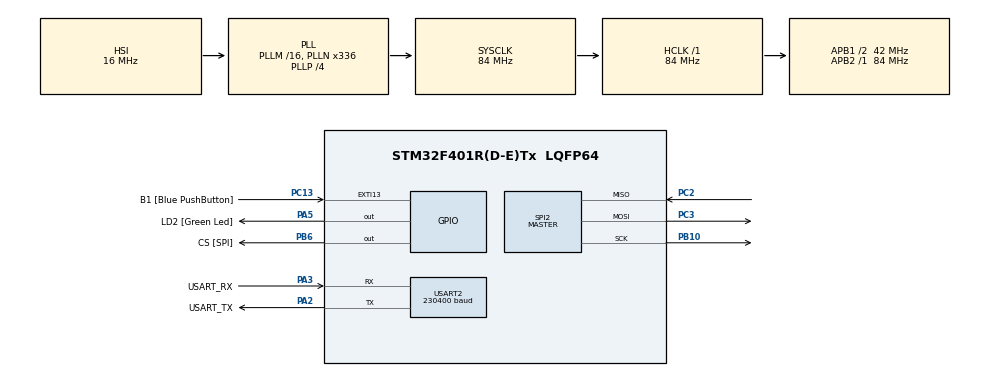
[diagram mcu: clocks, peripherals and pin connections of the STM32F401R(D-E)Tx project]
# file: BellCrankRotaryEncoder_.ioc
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FREERTOS.Tasks01=defaultTask,0,128,StartDefaultTask,Default,NULL,Dynamic,NULL,NULL
Mcu.Family=STM32F4
Mcu.Name=STM32F401R(D-E)Tx
Mcu.Package=LQFP64
NVIC.PriorityGroup=NVIC_PRIORITYGROUP_4
PA13.GPIO_Label=TMS
PA13.Mode=Serial_Wire
PA13.Signal=SYS_JTMS-SWDIO
PA14.GPIO_Label=TCK
PA14.Mode=Serial_Wire
PA14.Signal=SYS_JTCK-SWCLK
PA2.GPIO_Label=USART_TX
PA2.GPIO_Mode=GPIO_MODE_AF_PP
PA2.GPIO_PuPd=GPIO_NOPULL
PA2.GPIO_Speed=GPIO_SPEED_FREQ_LOW
PA2.Mode=Asynchronous
PA2.Signal=USART2_TX
PA3.GPIO_Label=USART_RX
PA3.GPIO_Mode=GPIO_MODE_AF_PP
PA3.GPIO_PuPd=GPIO_NOPULL
PA3.GPIO_Speed=GPIO_SPEED_FREQ_LOW
PA3.Mode=Asynchronous
PA3.Signal=USART2_RX
PA5.GPIO_Label=LD2 [Green Led]
PA5.GPIO_Mode=GPIO_MODE_OUTPUT_PP
PA5.GPIO_PuPd=GPIO_NOPULL
PA5.GPIO_Speed=GPIO_SPEED_FREQ_LOW
PA5.Signal=GPIO_Output
PB10.Mode=Full_Duplex_Master
PB10.Signal=SPI2_SCK
PB3.GPIO_Label=SWO
PB3.Signal=SYS_JTDO-SWO
PB6.GPIO_Label=CS [SPI]
PB6.Signal=GPIO_Output
PC13-ANTI_TAMP.GPIO_Label=B1 [Blue PushButton]
PC13-ANTI_TAMP.GPIO_ModeDefaultEXTI=GPIO_MODE_IT_FALLING
PC13-ANTI_TAMP.GPIO_PuPd=GPIO_NOPULL
PC13-ANTI_TAMP.Signal=GPXTI13
PC14-OSC32_IN.Mode=LSE-External-Oscillator
PC14-OSC32_IN.Signal=RCC_OSC32_IN
PC15-OSC32_OUT.Mode=LSE-External-Oscillator
PC15-OSC32_OUT.Signal=RCC_OSC32_OUT
PC2.Mode=Full_Duplex_Master
PC2.Signal=SPI2_MISO
PC3.Mode=Full_Duplex_Master
PC3.Signal=SPI2_MOSI
PH0\ -\ OSC_IN.Mode=HSE-External-Clock-Source
PH0\ -\ OSC_IN.Signal=RCC_OSC_IN
PH1\ -\ OSC_OUT.Mode=HSE-External-Clock-Source
PH1\ -\ OSC_OUT.Signal=RCC_OSC_OUT
ProjectManager.HeapSize=0x200
ProjectManager.StackSize=0x400
ProjectManager.TargetToolchain=Makefile
RCC.48MHZClocksFreq_Value=48000000
RCC.AHBFreq_Value=84000000
RCC.APB1CLKDivider=RCC_HCLK_DIV2
RCC.APB1Freq_Value=42000000
RCC.APB1TimFreq_Value=84000000
RCC.APB2Freq_Value=84000000
RCC.APB2TimFreq_Value=84000000
RCC.CortexFreq_Value=84000000
RCC.HCLKFreq_Value=84000000
RCC.HSE_VALUE=8000000
RCC.HSI_VALUE=16000000
RCC.PLLN=336
RCC.PLLP=RCC_PLLP_DIV4
RCC.PLLQ=7
RCC.SYSCLKFreq_VALUE=84000000
RCC.SYSCLKSource=RCC_SYSCLKSOURCE_PLLCLK
RCC.VCOOutputFreq_Value=336000000
SPI2.Direction=SPI_DIRECTION_2LINES
SPI2.Mode=SPI_MODE_MASTER
SPI2.VirtualType=VM_MASTER
USART2.BaudRate=230400
USART2.VirtualMode=VM_ASYNC
VP_FREERTOS_VS_CMSIS_V1.Mode=CMSIS_V1
board=NUCLEO-F401RE

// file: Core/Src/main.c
/* USER CODE BEGIN Header */
/**
  ******************************************************************************
  * @file           : main.c
  * @brief          : Main program body
  ******************************************************************************
  * @attention
  *
  * Copyright (c) 2024 STMicroelectronics.
  * All rights reserved.
  *
  * This software is licensed under terms that can be found in the LICENSE file
  * in the root directory of this software component.
  * If no LICENSE file comes with this software, it is provided AS-IS.
  *
  ******************************************************************************
  */
/* USER CODE END Header */
#include "main.h"
#include "string.h"
#include "cmsis_os.h"
#include "stdio.h"

SPI_HandleTypeDef hspi2;

UART_HandleTypeDef huart2;

osThreadId defaultTaskHandle;
osMessageQId msgQueueHandle;

void SystemClock_Config(void);
static void MX_GPIO_Init(void);
static void MX_SPI2_Init(void);
static void MX_USART2_UART_Init(void);
void StartDefaultTask(void const * argument);

/* USER CODE BEGIN PFP */

#define COMMAND_SIZE 2
#define CMD_NO_OPERATION 0x00
#define CMD_READ_POS 0x10
#define CMD_SET_ZERO_POINT 0x70
#define CMD_TIMEOUT 10

//redirect printf to uart
#ifdef __GNUC__
#define PUTCHAR_PROTOTYPE int __io_putchar(int ch)
#else
#define PUTCHAR_PROTOTYPE int fputc(int ch, FILE *f)
#endif

PUTCHAR_PROTOTYPE
{
  HAL_UART_Transmit(&huart2, (uint8_t *)&ch, 1, HAL_MAX_DELAY);
  return ch;
}

/* USER CODE END PFP */

int main(void)
{

  /* MCU Configuration--------------------------------------------------------*/

  /* Reset of all peripherals, Initializes the Flash interface and the Systick. */
  HAL_Init();

  /* Configure the system clock */
  SystemClock_Config();

  /* Initialize all configured peripherals */
  MX_GPIO_Init();
  MX_SPI2_Init();
  MX_USART2_UART_Init();

  /* USER CODE BEGIN RTOS_QUEUES */
  /* definition and creation of msgQueue */
  osMessageQDef(msgQueue, 16, uint16_t);
  msgQueueHandle = osMessageCreate(osMessageQ(msgQueue), NULL);
  /* USER CODE END RTOS_QUEUES */

  /* Create the thread(s) */
  /* definition and creation of defaultTask */
  osThreadDef(defaultTask, StartDefaultTask, osPriorityNormal, 0, 128);
  defaultTaskHandle = osThreadCreate(osThread(defaultTask), NULL);

  /* Start scheduler */
  osKernelStart();

  /* We should never get here as control is now taken by the scheduler */
  /* Infinite loop */
  while (1)
  {

  }
}

void SystemClock_Config(void)
{
  RCC_OscInitTypeDef RCC_OscInitStruct = {0};
  RCC_ClkInitTypeDef RCC_ClkInitStruct = {0};

  /** Configure the main internal regulator output voltage
  */
  __HAL_RCC_PWR_CLK_ENABLE();
  __HAL_PWR_VOLTAGESCALING_CONFIG(PWR_REGULATOR_VOLTAGE_SCALE2);

  /** Initializes the RCC Oscillators according to the specified parameters
  * in the RCC_OscInitTypeDef structure.
  */
  RCC_OscInitStruct.OscillatorType = RCC_OSCILLATORTYPE_HSI;
  RCC_OscInitStruct.HSIState = RCC_HSI_ON;
  RCC_OscInitStruct.HSICalibrationValue = RCC_HSICALIBRATION_DEFAULT;
  RCC_OscInitStruct.PLL.PLLState = RCC_PLL_ON;
  RCC_OscInitStruct.PLL.PLLSource = RCC_PLLSOURCE_HSI;
  RCC_OscInitStruct.PLL.PLLM = 16;
  RCC_OscInitStruct.PLL.PLLN = 336;
  RCC_OscInitStruct.PLL.PLLP = RCC_PLLP_DIV4;
  RCC_OscInitStruct.PLL.PLLQ = 7;
  if (HAL_RCC_OscConfig(&RCC_OscInitStruct) != HAL_OK)
  {
    Error_Handler();
  }

  /** Initializes the CPU, AHB and APB buses clocks
  */
  RCC_ClkInitStruct.ClockType = RCC_CLOCKTYPE_HCLK|RCC_CLOCKTYPE_SYSCLK
                              |RCC_CLOCKTYPE_PCLK1|RCC_CLOCKTYPE_PCLK2;
  RCC_ClkInitStruct.SYSCLKSource = RCC_SYSCLKSOURCE_PLLCLK;
  RCC_ClkInitStruct.AHBCLKDivider = RCC_SYSCLK_DIV1;
  RCC_ClkInitStruct.APB1CLKDivider = RCC_HCLK_DIV2;
  RCC_ClkInitStruct.APB2CLKDivider = RCC_HCLK_DIV1;

  if (HAL_RCC_ClockConfig(&RCC_ClkInitStruct, FLASH_LATENCY_2) != HAL_OK)
  {
    Error_Handler();
  }
}

static void MX_SPI2_Init(void)
{

  /* SPI2 parameter configuration*/
  hspi2.Instance = SPI2;
  hspi2.Init.Mode = SPI_MODE_MASTER;
  hspi2.Init.Direction = SPI_DIRECTION_2LINES;
  hspi2.Init.DataSize = SPI_DATASIZE_8BIT;
  hspi2.Init.CLKPolarity = SPI_POLARITY_LOW;
  hspi2.Init.CLKPhase = SPI_PHASE_1EDGE;
  hspi2.Init.NSS = SPI_NSS_SOFT;
  hspi2.Init.BaudRatePrescaler = SPI_BAUDRATEPRESCALER_64;
  hspi2.Init.FirstBit = SPI_FIRSTBIT_MSB;
  hspi2.Init.TIMode = SPI_TIMODE_DISABLE;
  hspi2.Init.CRCCalculation = SPI_CRCCALCULATION_DISABLE;
  hspi2.Init.CRCPolynomial = 7;
  if (HAL_SPI_Init(&hspi2) != HAL_OK)
  {
    Error_Handler();
  }

}

static void MX_USART2_UART_Init(void)
{

  huart2.Instance = USART2;
  huart2.Init.BaudRate = 230400;
  huart2.Init.WordLength = UART_WORDLENGTH_8B;
  huart2.Init.StopBits = UART_STOPBITS_1;
  huart2.Init.Parity = UART_PARITY_NONE;
  huart2.Init.Mode = UART_MODE_TX_RX;
  huart2.Init.HwFlowCtl = UART_HWCONTROL_NONE;
  huart2.Init.OverSampling = UART_OVERSAMPLING_16;
  if (HAL_UART_Init(&huart2) != HAL_OK)
  {
    Error_Handler();
  }

}

static void MX_GPIO_Init(void)
{
  GPIO_InitTypeDef GPIO_InitStruct = {0};

  /* GPIO Ports Clock Enable */
  __HAL_RCC_GPIOC_CLK_ENABLE();
  __HAL_RCC_GPIOH_CLK_ENABLE();
  __HAL_RCC_GPIOA_CLK_ENABLE();
  __HAL_RCC_GPIOB_CLK_ENABLE();

  /*Configure GPIO pin Output Level */
  HAL_GPIO_WritePin(LD2_GPIO_Port, LD2_Pin, GPIO_PIN_RESET);

  /*Configure GPIO pin Output Level */
  HAL_GPIO_WritePin(CS_GPIO_Port, CS_Pin, GPIO_PIN_RESET);

  /*Configure GPIO pin : B1_Pin */
  GPIO_InitStruct.Pin = B1_Pin;
  GPIO_InitStruct.Mode = GPIO_MODE_IT_FALLING;
  GPIO_InitStruct.Pull = GPIO_NOPULL;
  HAL_GPIO_Init(B1_GPIO_Port, &GPIO_InitStruct);

  /*Configure GPIO pin : LD2_Pin */
  GPIO_InitStruct.Pin = LD2_Pin;
  GPIO_InitStruct.Mode = GPIO_MODE_OUTPUT_PP;
  GPIO_InitStruct.Pull = GPIO_NOPULL;
  GPIO_InitStruct.Speed = GPIO_SPEED_FREQ_LOW;
  HAL_GPIO_Init(LD2_GPIO_Port, &GPIO_InitStruct);

  /*Configure GPIO pin : CS_Pin */
  GPIO_InitStruct.Pin = CS_Pin;
  GPIO_InitStruct.Mode = GPIO_MODE_OUTPUT_PP;
  GPIO_InitStruct.Pull = GPIO_NOPULL;
  GPIO_InitStruct.Speed = GPIO_SPEED_FREQ_LOW;
  HAL_GPIO_Init(CS_GPIO_Port, &GPIO_InitStruct);

}

void StartDefaultTask(void const * argument)
{
  /* USER CODE BEGIN 5 */
  const size_t BUFF_SIZE = COMMAND_SIZE;
  uint8_t tx_data[COMMAND_SIZE];
  uint8_t rx_data[COMMAND_SIZE];
  uint16_t data_buffer;

  /* Wait for the rotary encoder to finish its initialization (100 ms) */
  vTaskDelay(pdMS_TO_TICKS(100));

  /* Enter Infinite loop after connecting with the encoder */
  for(;;)
  {
    /* Clear the buffers */
    memset(tx_data, 0, sizeof(tx_data));
    memset(rx_data, 0, sizeof(rx_data));

    /* Initial master command to read position */
    tx_data[0] = 0x10;

    // CS Low
    HAL_GPIO_WritePin(GPIOB, GPIO_PIN_6, GPIO_PIN_RESET);
    HAL_SPI_TransmitReceive(&hspi2, tx_data, rx_data, BUFF_SIZE, CMD_TIMEOUT);
    // CS High
    HAL_GPIO_WritePin(GPIOB, GPIO_PIN_6, GPIO_PIN_SET);

    // Delay before next command send
    vTaskDelay(pdMS_TO_TICKS(10));

    while(1)
    {
      /* Continue sending nop command until data is available */
      tx_data[0] = 0x00;

      // cs low
      HAL_GPIO_WritePin(GPIOB, GPIO_PIN_6, GPIO_PIN_RESET);
      HAL_SPI_TransmitReceive(&hspi2, tx_data, rx_data, 1, CMD_TIMEOUT);
      // cs high
      HAL_GPIO_WritePin(GPIOB, GPIO_PIN_6, GPIO_PIN_SET);

      if (rx_data[0] != 0xA5)
      {
        break;
      }

      // Delay
      vTaskDelay(pdMS_TO_TICKS(10));
    }

    /* First NOP command */
    // set cs low
    tx_data[0] = 0x00;
    HAL_GPIO_WritePin(GPIOB, GPIO_PIN_6, GPIO_PIN_RESET);
    if (HAL_SPI_TransmitReceive(&hspi2, tx_data, rx_data, BUFF_SIZE, CMD_TIMEOUT) != pdTRUE){
      // DEBUG_PRINT("unable to retreive data \r\n"); // doesn't work
      printf("Unable to communicate\n\r");
    }
    // Reset cs back to high
    HAL_GPIO_WritePin(GPIOB, GPIO_PIN_6, GPIO_PIN_SET);
    // // Delay by 10ms before next read
    // vTaskDelay(pdMS_TO_TICKS(10));

    // MSB
    data_buffer = (rx_data[1] & 0xF) << 8;

    /* Second NOP command */
    // consolidate SPI commands to one tx rx call
    HAL_GPIO_WritePin(GPIOB, GPIO_PIN_6, GPIO_PIN_RESET);
    if (HAL_SPI_TransmitReceive(&hspi2, tx_data, rx_data, 1, HAL_MAX_DELAY) != pdTRUE){
      // DEBUG_PRINT("unable to communicate\r\n");
      printf("Unable to communicate\n\r");
    }
    HAL_GPIO_WritePin(GPIOB, GPIO_PIN_6, GPIO_PIN_SET);
    // // Delay by 10ms before next read
    // vTaskDelay(pdMS_TO_TICKS(10));

    /* Final Position Data */
    data_buffer |= rx_data[1];

    /* Send data over a UART port */
    printf("Absolute angle: %d \n\r", data_buffer);
  }
  /* USER CODE END 5 */
}

void Error_Handler(void)
{
  __disable_irq();
  while (1)
  {
  }
}
